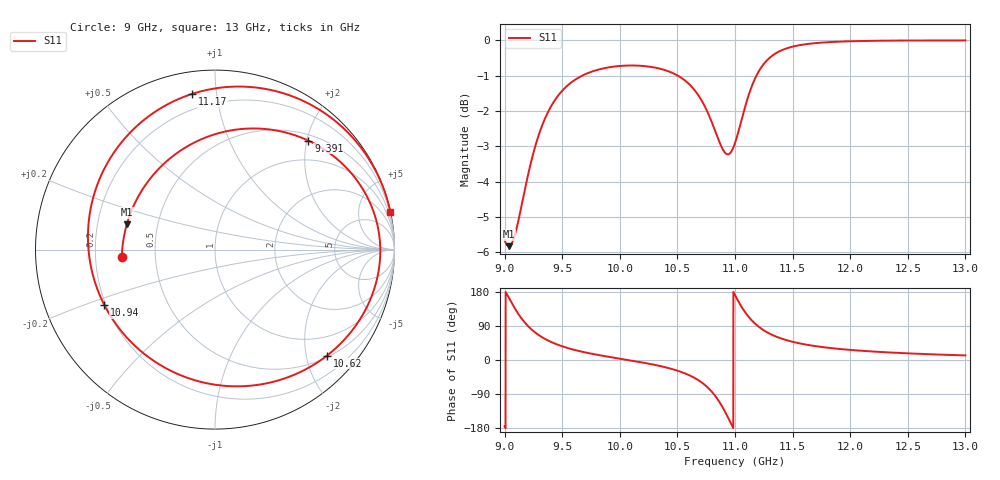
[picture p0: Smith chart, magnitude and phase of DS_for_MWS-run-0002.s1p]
! TOUCHSTONE file generated by CST DESIGN STUDIO
! Date and time: Tue Feb  4 18:08:10 2025
! Project name: C:\Work\MatlabApps\UnitCellOptimizationMatlab\CST\unitcell.cst
! Tree item: Tasks\Sweep1\SPara1\S-Parameters
! Header version: 2024
! Port assignment regex: !\s*Touchstone port\s*([0-9]+)\s*=\s*(CST MWS port|CST DES external port|CST DES block port)\s*(.+)\s* \(\"(.*)\"\)(\s*mode\s*([0-9]+))?.*
! Touchstone port assignment:
! Touchstone port 1 = CST DES external port 1 ("")
# GHz S MA R 50
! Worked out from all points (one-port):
!   4001 points, 9 GHz to 13 GHz, reference 50 ohm
!   lowest |S11| = -5.8 dB at 9.037 GHz (marker M1), VSWR 3.09, Z = 16.5 + j6.25 ohm
!   |S11| at or under -10 dB: nowhere
!   S11 on the Smith chart (normalised r, x): 9 GHz: 0.32, -0.04; 9.391 GHz: 0.60, +2.03; 10.62 GHz: 0.53, -2.41; 10.94 GHz: 0.19, -0.23; 11.17 GHz: 0.11, +0.86; 13 GHz: 0.03, +9.44
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9  0.5209 -175.4
9.037  0.5111 164.1
9.116  0.5521 123.0
9.191  0.6312 93.5
9.276  0.7169 70.1
9.391  0.7996 49.4
9.5  0.8482 36.2
9.711  0.8969 19.3
10  0.9196 3.5
10.29  0.9158 -12.0
10.5  0.8917 -28.1
10.625  0.8591 -43.4
10.727  0.8126 -63.0
10.82  0.7499 -91.5
10.882  0.7071 -119.3
10.942  0.6896 -153.3
11  0.7152 171.3
11.038  0.7511 149.9
11.084  0.801 127.7
11.123  0.8406 112.2
11.166  0.877 98.3
11.24  0.9214 80.3
11.315  0.9488 67.4
11.5  0.9795 48.0
11.706  0.9911 36.3
12  0.9968 26.6
12.5  0.9993 17.6
13  0.9994 12.1
